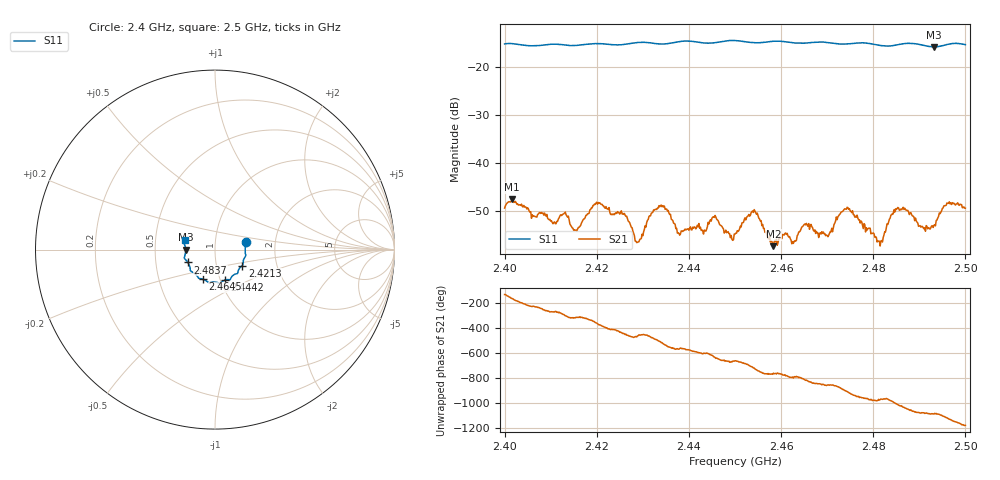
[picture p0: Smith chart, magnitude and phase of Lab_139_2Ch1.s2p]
# Hz S RI R 50
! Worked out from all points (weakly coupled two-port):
!   601 points, 2.4 GHz to 2.5 GHz, reference 50 ohm
!   highest |S21| = -47.57 dB at 2.4017 GHz (marker M1); lowest = -57.3 dB at 2.4583 GHz (marker M2)
!   lowest |S11| = -15.7 dB at 2.4932 GHz (marker M3), VSWR 1.39, Z = 36 - j0.0524 ohm
!   |S11| at or under -10 dB: start of sweep to end of sweep
!   S12 and S22 are empty: the file has one direction only
!   S11 on the Smith chart (normalised r, x): 2.4 GHz: 1.41, +0.12; 2.4213 GHz: 1.33, -0.25; 2.4442 GHz: 1.05, -0.37; 2.4645 GHz: 0.83, -0.29; 2.4837 GHz: 0.73, -0.11; 2.5 GHz: 0.71, +0.07
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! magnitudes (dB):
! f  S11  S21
! 2.4 GHz  -15.1  -49.4
! 2.4017 GHz  -15.0  -47.6
! 2.4167 GHz  -15.3  -52.5
! 2.4213 GHz  -15.1  -48.9
! 2.4262 GHz  -15.2  -50.9
! 2.4288 GHz  -14.8  -56.5
! 2.4333 GHz  -15.1  -49.4
! 2.438 GHz  -14.6  -55.0
! 2.4442 GHz  -15.0  -52.4
! 2.45 GHz  -14.4  -54.8
! 2.454 GHz  -14.9  -50.3
! 2.4583 GHz  -14.5  -57.3
! 2.4645 GHz  -15.0  -53.3
! 2.4667 GHz  -14.8  -53.2
! 2.4702 GHz  -14.8  -55.3
! 2.4743 GHz  -15.1  -49.2
! 2.4815 GHz  -15.4  -57.3
! 2.4833 GHz  -15.6  -52.3
! 2.4837 GHz  -15.5  -51.5
! 2.4932 GHz  -15.7  -53.0
! 2.496 GHz  -15.2  -48.3
! 2.5 GHz  -15.3  -49.4
